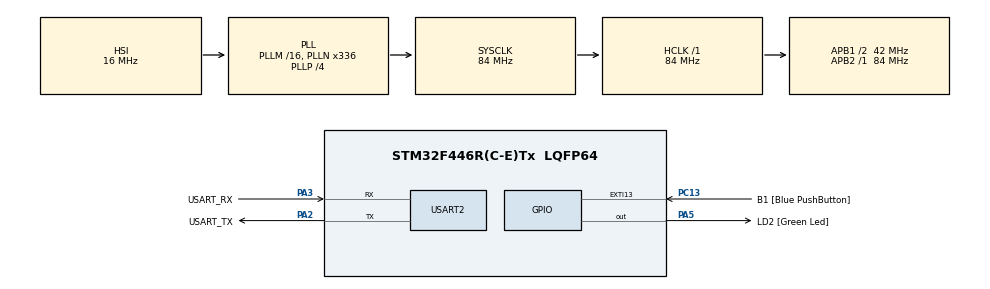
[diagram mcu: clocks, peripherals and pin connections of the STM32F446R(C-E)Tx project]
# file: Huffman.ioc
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Mcu.Family=STM32F4
Mcu.Name=STM32F446R(C-E)Tx
Mcu.Package=LQFP64
NVIC.PriorityGroup=NVIC_PRIORITYGROUP_0
PA13.GPIO_Label=TMS
PA13.Mode=Serial_Wire
PA13.Signal=SYS_JTMS-SWDIO
PA14.GPIO_Label=TCK
PA14.Mode=Serial_Wire
PA14.Signal=SYS_JTCK-SWCLK
PA2.GPIO_Label=USART_TX
PA2.Mode=Asynchronous
PA2.Signal=USART2_TX
PA3.GPIO_Label=USART_RX
PA3.Mode=Asynchronous
PA3.Signal=USART2_RX
PA5.GPIO_Label=LD2 [Green Led]
PA5.Signal=GPIO_Output
PB3.GPIO_Label=SWO
PB3.Signal=SYS_JTDO-SWO
PC13.GPIO_Label=B1 [Blue PushButton]
PC13.GPIO_ModeDefaultEXTI=GPIO_MODE_IT_FALLING
PC13.Signal=GPXTI13
PC14-OSC32_IN.Mode=LSE-External-Oscillator
PC14-OSC32_IN.Signal=RCC_OSC32_IN
PC15-OSC32_OUT.Mode=LSE-External-Oscillator
PC15-OSC32_OUT.Signal=RCC_OSC32_OUT
PH0-OSC_IN.Mode=HSE-External-Oscillator
PH0-OSC_IN.Signal=RCC_OSC_IN
PH1-OSC_OUT.Mode=HSE-External-Oscillator
PH1-OSC_OUT.Signal=RCC_OSC_OUT
ProjectManager.HeapSize=0x200
ProjectManager.StackSize=0x400
ProjectManager.TargetToolchain=STM32CubeIDE
RCC.48MHZClocksFreq_Value=84000000
RCC.AHBFreq_Value=84000000
RCC.APB1CLKDivider=RCC_HCLK_DIV2
RCC.APB1Freq_Value=42000000
RCC.APB1TimFreq_Value=84000000
RCC.APB2Freq_Value=84000000
RCC.APB2TimFreq_Value=84000000
RCC.CortexFreq_Value=84000000
RCC.FLatency-AdvancedSettings=FLASH_LATENCY_2
RCC.HCLKFreq_Value=84000000
RCC.HSE_VALUE=8000000
RCC.HSI_VALUE=16000000
RCC.PLLN=336
RCC.PLLP=RCC_PLLP_DIV4
RCC.SYSCLKFreq_VALUE=84000000
RCC.SYSCLKSource=RCC_SYSCLKSOURCE_PLLCLK
RCC.USBFreq_Value=168000000
RCC.VCOOutputFreq_Value=336000000
USART2.VirtualMode=VM_ASYNC
board=NUCLEO-F446RE

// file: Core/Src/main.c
/* USER CODE BEGIN Header */
/**
  ******************************************************************************
  * @file           : main.c
  * @brief          : Main program body
  ******************************************************************************
  * @attention
  *
  * <h2><center>&copy; Copyright (c) 2021 STMicroelectronics.
  * All rights reserved.</center></h2>
  *
  * This software component is licensed by ST under BSD 3-Clause license,
  * the "License"; You may not use this file except in compliance with the
  * License. You may obtain a copy of the License at:
  *                        opensource.org/licenses/BSD-3-Clause
  *
  ******************************************************************************
  */
/* USER CODE END Header */
#include "main.h"
#include "../compression/compression_code.h"
#include "../communication_management/communication.h"

/* USER CODE BEGIN PD */
#define MAX_COMPRESS_SIZE 256

/* USER CODE END PD */

UART_HandleTypeDef huart2;

void SystemClock_Config(void);
static void MX_GPIO_Init(void);
static void MX_USART2_UART_Init(void);

int main(void)
{
  /* USER CODE BEGIN 1 */

    // Variable declaration
	uint8_t  text[]     = "aaaabbbccd";   // Text to compress Une banane   aaaabbbccd
	uint8_t  init_index = 0U;             // loop index used o initialize array
	uint8_t  code_size  = 0U;
	uint16_t code       = 0U;
	uint32_t compressed_text_size = 0U;
	uint32_t text_size            = 0U;
	uint8_t  text_compress[MAX_COMPRESS_SIZE];
	struct node*    p_root;	             // Huffman tree root
	struct header_s header;

  /* USER CODE END 1 */

  /* MCU Configuration--------------------------------------------------------*/

  /* Reset of all peripherals, Initializes the Flash interface and the Systick. */
  HAL_Init();

  /* Configure the system clock */
  SystemClock_Config();

  /* USER CODE BEGIN SysInit */

  // Initialize text_compresss
  for (init_index = 0; init_index < ARRAY_SIZE; init_index++)
  {
	  text_compress[init_index] = 0;
  }

  /* USER CODE END SysInit */

  /* Initialize all configured peripherals */
  MX_GPIO_Init();
  MX_USART2_UART_Init();
  /* USER CODE BEGIN 2 */

	printf("\r \n");
	printf("--- Program start ---");
	printf("\r \n");

	// Initiate Huffman tree
	p_root = initialize_huffman_tree(text);

	// Create code
	create_code(p_root,
			    code,
				code_size);

	// Compress text
	compress_text(p_root,
			      text,
				  text_compress,
				  &compressed_text_size,
				  &text_size);

	// Create header for send
	header = create_header(compressed_text_size,
						   text_size,
						   p_root);

  /* USER CODE END 2 */

  /* Infinite loop */
  while (1)
  {

  }
}

void SystemClock_Config(void)
{
  RCC_OscInitTypeDef RCC_OscInitStruct = {0};
  RCC_ClkInitTypeDef RCC_ClkInitStruct = {0};

  /** Configure the main internal regulator output voltage
  */
  __HAL_RCC_PWR_CLK_ENABLE();
  __HAL_PWR_VOLTAGESCALING_CONFIG(PWR_REGULATOR_VOLTAGE_SCALE3);
  /** Initializes the RCC Oscillators according to the specified parameters
  * in the RCC_OscInitTypeDef structure.
  */
  RCC_OscInitStruct.OscillatorType = RCC_OSCILLATORTYPE_HSI;
  RCC_OscInitStruct.HSIState = RCC_HSI_ON;
  RCC_OscInitStruct.HSICalibrationValue = RCC_HSICALIBRATION_DEFAULT;
  RCC_OscInitStruct.PLL.PLLState = RCC_PLL_ON;
  RCC_OscInitStruct.PLL.PLLSource = RCC_PLLSOURCE_HSI;
  RCC_OscInitStruct.PLL.PLLM = 16;
  RCC_OscInitStruct.PLL.PLLN = 336;
  RCC_OscInitStruct.PLL.PLLP = RCC_PLLP_DIV4;
  RCC_OscInitStruct.PLL.PLLQ = 2;
  RCC_OscInitStruct.PLL.PLLR = 2;
  if (HAL_RCC_OscConfig(&RCC_OscInitStruct) != HAL_OK)
  {
    Error_Handler();
  }
  /** Initializes the CPU, AHB and APB buses clocks
  */
  RCC_ClkInitStruct.ClockType = RCC_CLOCKTYPE_HCLK|RCC_CLOCKTYPE_SYSCLK
                              |RCC_CLOCKTYPE_PCLK1|RCC_CLOCKTYPE_PCLK2;
  RCC_ClkInitStruct.SYSCLKSource = RCC_SYSCLKSOURCE_PLLCLK;
  RCC_ClkInitStruct.AHBCLKDivider = RCC_SYSCLK_DIV1;
  RCC_ClkInitStruct.APB1CLKDivider = RCC_HCLK_DIV2;
  RCC_ClkInitStruct.APB2CLKDivider = RCC_HCLK_DIV1;

  if (HAL_RCC_ClockConfig(&RCC_ClkInitStruct, FLASH_LATENCY_2) != HAL_OK)
  {
    Error_Handler();
  }
}

static void MX_USART2_UART_Init(void)
{

  huart2.Instance = USART2;
  huart2.Init.BaudRate = 115200;
  huart2.Init.WordLength = UART_WORDLENGTH_8B;
  huart2.Init.StopBits = UART_STOPBITS_1;
  huart2.Init.Parity = UART_PARITY_NONE;
  huart2.Init.Mode = UART_MODE_TX_RX;
  huart2.Init.HwFlowCtl = UART_HWCONTROL_NONE;
  huart2.Init.OverSampling = UART_OVERSAMPLING_16;
  if (HAL_UART_Init(&huart2) != HAL_OK)
  {
    Error_Handler();
  }

}

static void MX_GPIO_Init(void)
{
  GPIO_InitTypeDef GPIO_InitStruct = {0};

  /* GPIO Ports Clock Enable */
  __HAL_RCC_GPIOC_CLK_ENABLE();
  __HAL_RCC_GPIOH_CLK_ENABLE();
  __HAL_RCC_GPIOA_CLK_ENABLE();
  __HAL_RCC_GPIOB_CLK_ENABLE();

  /*Configure GPIO pin Output Level */
  HAL_GPIO_WritePin(LD2_GPIO_Port, LD2_Pin, GPIO_PIN_RESET);

  /*Configure GPIO pin : B1_Pin */
  GPIO_InitStruct.Pin = B1_Pin;
  GPIO_InitStruct.Mode = GPIO_MODE_IT_FALLING;
  GPIO_InitStruct.Pull = GPIO_NOPULL;
  HAL_GPIO_Init(B1_GPIO_Port, &GPIO_InitStruct);

  /*Configure GPIO pin : LD2_Pin */
  GPIO_InitStruct.Pin = LD2_Pin;
  GPIO_InitStruct.Mode = GPIO_MODE_OUTPUT_PP;
  GPIO_InitStruct.Pull = GPIO_NOPULL;
  GPIO_InitStruct.Speed = GPIO_SPEED_FREQ_LOW;
  HAL_GPIO_Init(LD2_GPIO_Port, &GPIO_InitStruct);

}

/* USER CODE BEGIN 4 */
int __io_putchar(int ch)
{
	HAL_UART_Transmit(&huart2, &ch, 1, 1000);
}

/* USER CODE END 4 */

void Error_Handler(void)
{
  __disable_irq();
  while (1)
  {
  }
}

/************************ (C) COPYRIGHT STMicroelectronics *****END OF FILE****/
